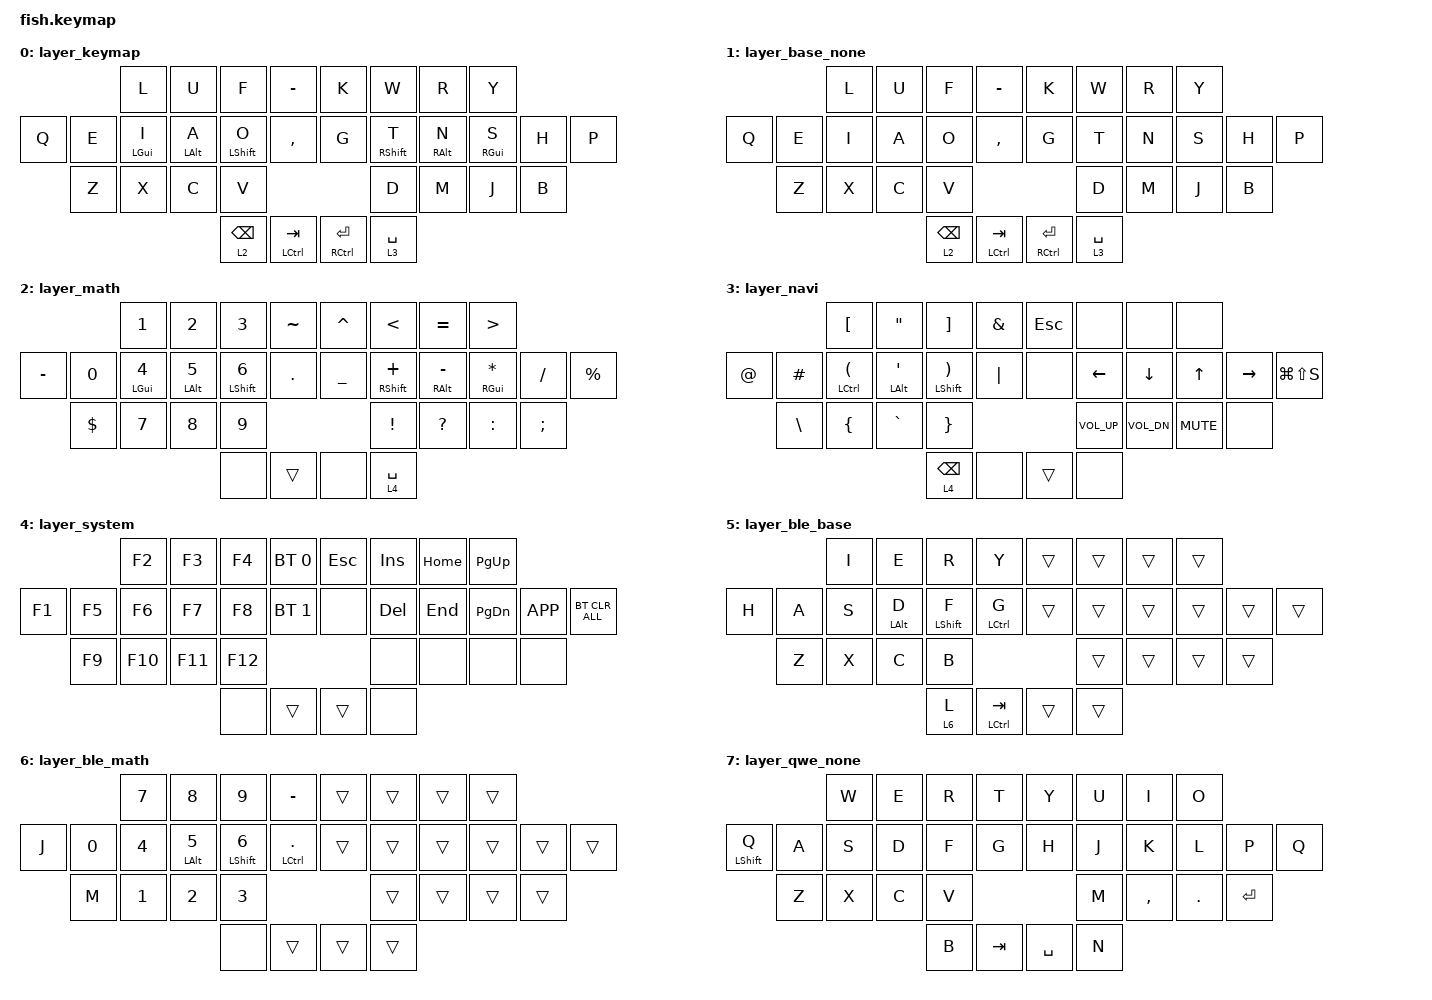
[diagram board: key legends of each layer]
// キーマップを更新する方法は https://o24.works/fish/guide を参照
// 視覚的に編集するには https://o24.works/fish/editor を参照


// 定義を呼んでくる
#include <behaviors.dtsi>
#include <dt-bindings/zmk/keys.h>
#include <dt-bindings/zmk/mouse.h>
#include <dt-bindings/zmk/bt.h>
#include <dt-bindings/zmk/outputs.h>
#include <dt-bindings/zmk/pointing.h>


// 特殊入力の挙動を調整できる

&mt {
    flavor = "tap-preferred";
    tapping-term-ms = <190>;
    require-prior-idle-ms = <150>;
};

&lt {
    flavor = "balanced";
    tapping-term-ms = <175>;
};

&sk {
};

&sl {
};

&caps_word {
};

&key_repeat {
};


/ {
    // 独自の入力を定義できる（上級者向け）

    behaviors {
    };

    macros {
    };

    conditional_layers {
    };


    // 複数キーの同時押しに特別の入力を設定できる
    // キー番号早見表：
    //       0  1  2  3     4  5  6  7
    // 8  9 10 11 12 13    14 15 16 17 18 19
    //   20 21 22 23          24 25 26 27
    //            28 29    30 31

    combos {
        compatible = "zmk,combos";
        timeout-ms = <100>;
        require-prior-idle-ms = <150>;

        combo_lang1 {
            key-positions = <15 16>;
            bindings = <&kp LC(J)>;
        };

        combo_lang2 {
            key-positions = <11 12>;
            bindings = <&kp LG(SPACE)>;
        };

        combo_caps {
            key-positions = <12 15>;
            bindings = <&kp CAPS>;
        };

        combo_reset_L {
            key-positions = <3 8 13>;
            bindings = <&bootloader>;
        };

        combo_reset_R {
            key-positions = <4 14 19>;
            bindings = <&bootloader>;
        };

        combo_base_none {
            key-positions = <4 19>;
            bindings = <&tog 1>;
        };

        combo_qwe_none {
            key-positions = <14 19>;
            bindings = <&tog 7>;
        };

        combo_ble_base {
            key-positions = <3 8>;
            bindings = <&tog 5>;
        };
    };
    

    // キーに入力を割り当てる
    // 型（&...）は https://zmk.dev/docs/behaviors/... を参照
    // キーコードは https://zmk.dev/docs/codes/... を参照

    keymap {
        compatible = "zmk,keymap";

        layer_keymap {
            bindings = <
                        &kp L       &kp U       &kp F       &kp MINUS           &kp K       &kp W       &kp R       &kp Y       
&kp Q       &kp E       &mt LGUI I  &mt LALT A  &mt LSHFT O &kp COMMA           &kp G       &mt RSHFT T &mt RALT N  &mt RGUI S  &kp H       &kp P       
            &kp Z       &kp X       &kp C       &kp V                                       &kp D       &kp M       &kp J       &kp B       
                                                &lt 2 BSPC  &mt LCTRL TAB       &mt RCTRL RET &lt 3 SPACE 
            >;
        };

        layer_base_none {
            bindings = <
                        &kp L       &kp U       &kp F       &kp MINUS           &kp K       &kp W       &kp R       &kp Y       
&kp Q       &kp E       &kp I       &kp A       &kp O       &kp COMMA           &kp G       &kp T       &kp N       &kp S       &kp H       &kp P       
            &kp Z       &kp X       &kp C       &kp V                                       &kp D       &kp M       &kp J       &kp B       
                                                &lt 2 BSPC  &mt LCTRL TAB       &mt RCTRL RET &lt 3 SPACE 
            >;
        };

        layer_math {
            bindings = <
                        &kp N1      &kp N2      &kp N3      &kp TILDE           &kp CARET   &kp LT      &kp EQUAL   &kp GT      
&kp MINUS   &kp N0      &mt LGUI N4 &mt LALT N5 &mt LSHFT N6 &kp DOT            &kp UNDER   &mt RSHFT PLUS &mt RALT MINUS &mt RGUI STAR &kp FSLH &kp PRCNT 
            &kp DLLR    &kp N7      &kp N8      &kp N9                                      &kp EXCL    &kp QMARK   &kp COLON   &kp SEMI    
                                                &none       &trans              &none       &lt 4 SPACE 
            >;
        };

        layer_navi {
            bindings = <
                        &kp LBKT    &kp DQT     &kp RBKT    &kp AMPS            &kp ESC     &none       &none       &none       
&kp AT      &kp HASH    &mt LCTRL LPAR &mt LALT SQT &mt LSHFT RPAR &kp PIPE     &none       &kp LEFT    &kp DOWN    &kp UP      &kp RIGHT   &kp LG(LS(S)) 
            &kp BSLH    &kp LBRC    &kp GRAVE   &kp RBRC                                    &kp C_VOL_UP &kp C_VOL_DN &kp C_MUTE &none      
                                                &lt 4 BSPC  &none               &trans      &none       
            >;
        };

        layer_system {
            bindings = <
                        &kp F2      &kp F3      &kp F4      &bt BT_SEL 0        &kp ESC     &kp INS     &kp HOME    &kp PG_UP   
&kp F1      &kp F5      &kp F6      &kp F7      &kp F8      &bt BT_SEL 1        &none       &kp DEL     &kp END     &kp PG_DN   &kp K_APP   &bt BT_CLR_ALL 
            &kp F9      &kp F10     &kp F11     &kp F12                                     &none       &none       &none       &none       
                                                &none       &trans              &trans      &none       
            >;
        };

        layer_ble_base {
            bindings = <
                        &kp I       &kp E       &kp R       &kp Y               &trans      &trans      &trans      &trans      
&kp H       &kp A       &kp S       &mt LALT D  &mt LSHFT F &mt LCTRL G         &trans      &trans      &trans      &trans      &trans      &trans      
            &kp Z       &kp X       &kp C       &kp B                                       &trans      &trans      &trans      &trans      
                                                &lt 6 L     &mt LCTRL TAB       &trans      &trans      
            >;
        };

        layer_ble_math {
            bindings = <
                        &kp N7      &kp N8      &kp N9      &kp MINUS           &trans      &trans      &trans      &trans      
&kp J       &kp N0      &kp N4      &mt LALT N5 &mt LSHFT N6 &mt LCTRL DOT      &trans      &trans      &trans      &trans      &trans      &trans      
            &kp M       &kp N1      &kp N2      &kp N3                                      &trans      &trans      &trans      &trans      
                                                &none       &trans              &trans      &trans      
            >;
        };

        layer_qwe_none {
            bindings = <
                        &kp W       &kp E       &kp R       &kp T               &kp Y       &kp U       &kp I       &kp O       
&mt LSHFT Q &kp A       &kp S       &kp D       &kp F       &kp G               &kp H       &kp J       &kp K       &kp L       &kp P       &kp Q       
            &kp Z       &kp X       &kp C       &kp V                                       &kp M       &kp COMMA   &kp DOT     &kp RET     
                                                &kp B       &kp TAB             &kp SPACE   &kp N       
            >;
        };
    };
};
